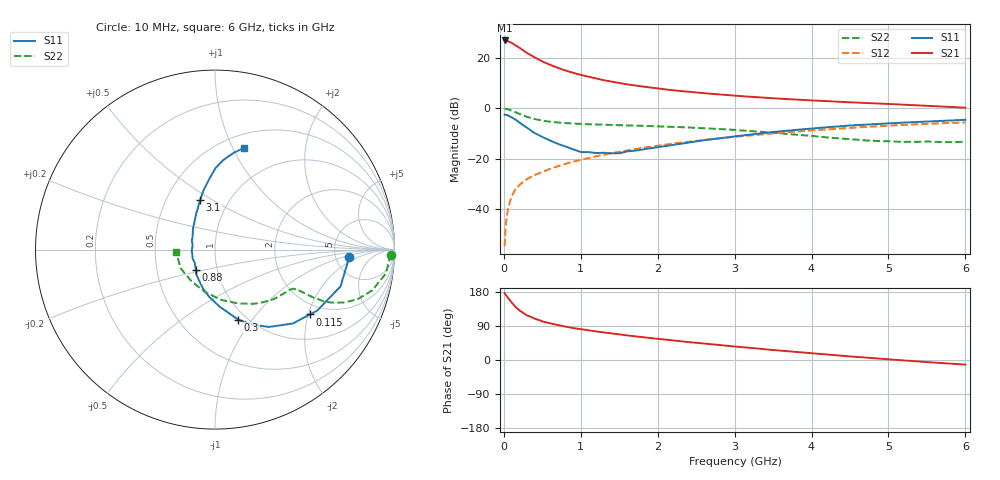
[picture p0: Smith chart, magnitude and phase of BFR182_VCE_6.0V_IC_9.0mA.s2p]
! Infineon Technologies  Discrete & RF Semiconductors
! BFR182
! VCE =  6.0 V,  IC =  9.0 mA
! Common Emitter S-Parameters:  Nov 2015
# GHz  S  MA  R  50
!  f  S11  S21  S12  S22
! GHz  MAG  ANG  MAG  ANG  MAG  ANG  MAG  ANG
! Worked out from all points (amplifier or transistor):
!   210 points, 10 MHz to 6 GHz, reference 50 ohm
!   highest |S21| = 27.0 dB at 10 MHz (marker M1)
!   |S21| within 3 dB of that: start of sweep to 207.2 MHz
!   unconditionally stable (mu >= 1): 872.2 MHz to 2.728 GHz
!   at 185 MHz: K = 0.47, MSG = 27.8 dB, |S12| = -31.1 dB
!   at 1.52 GHz: K = 1.05, MAG = 12.2 dB, |S12| = -17.2 dB
!   at 6 GHz: K = 0.89, MSG = 2.9 dB, |S12| = -5.6 dB
!   S11 on the Smith chart (normalised r, x): 10 MHz: 6.63, -1.29; 115 MHz: 1.68, -2.05; 300 MHz: 0.91, -0.86; 880 MHz: 0.79, -0.19; 3.1 GHz: 0.73, +0.44; 6 GHz: 0.64, +1.10
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0.01  0.7463 -3.3  22.36 176.6  0.0018 83.9  0.9827 -1.6
0.02  0.7411 -6.2  21.87 173.5  0.0037 92.1  0.9731 -3.2
0.05  0.7289 -16.3  21.72 165.1  0.009 83.1  0.9617 -7.9
0.1  0.6634 -30.8  20.17 152.0  0.0172 75.6  0.9049 -14.6
0.115  0.6406 -34.3  19.43 148.7  0.0193 73.8  0.8842 -16.0
0.15  0.598 -43.5  17.99 140.2  0.0242 70.7  0.8381 -19.4
0.2  0.5254 -55.1  16.12 131.1  0.0294 68.3  0.772 -22.5
0.26  0.4524 -65.5  13.89 122.7  0.035 66.4  0.7079 -24.6
0.3  0.4109 -71.7  12.63 117.9  0.0388 66.2  0.6739 -25.4
0.4  0.3213 -84.9  10.3 109.2  0.0467 65.5  0.6106 -26.0
0.5  0.2681 -96.4  8.522 102.0  0.054 66.4  0.5661 -26.0
0.6  0.2286 -106.7  7.304 96.7  0.0623 66.6  0.5393 -25.9
0.7  0.1963 -116.4  6.383 92.1  0.0699 66.9  0.5204 -25.9
0.88  0.1565 -132.9  5.181 85.1  0.0848 67.2  0.4988 -26.2
1.02  0.1343 -148.6  4.538 80.7  0.0958 67.4  0.4863 -26.7
1.4  0.1271 173.4  3.379 70.2  0.127 66.7  0.4656 -29.9
1.7  0.1429 150.9  2.843 62.6  0.1533 65.2  0.452 -33.1
2.02  0.1699 136.2  2.455 55.5  0.1814 62.9  0.4371 -37.5
3.1  0.2868 106.9  1.738 33.9  0.2793 53.7  0.3611 -56.6
4.1  0.4066 93.5  1.408 16.2  0.3716 43.1  0.2721 -86.4
5.1  0.5096 83.6  1.198 0.3  0.4596 31.0  0.2166 -131.0
6  0.589 74.2  1.028 -12.2  0.5227 18.8  0.2158 -175.9
